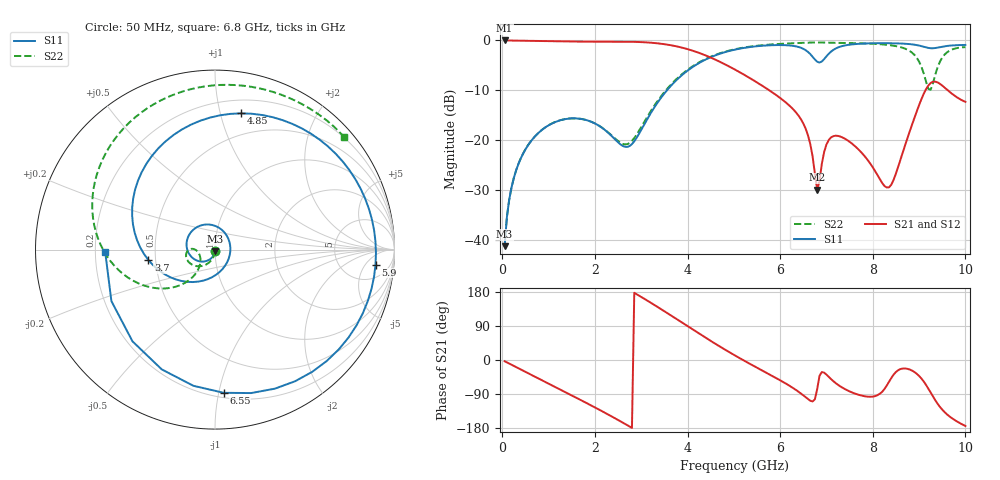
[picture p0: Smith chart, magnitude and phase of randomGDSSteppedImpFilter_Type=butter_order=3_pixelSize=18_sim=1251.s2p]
! freq	dB(S11)	phase(S11)	dB(S12)	phase(S12)
!  dB(S21)	phase(S21)	dB(S22)	phase(S22)
!S-par simulation data
#  GHz  S  DB  R 50
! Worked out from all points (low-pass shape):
!   200 points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, 50 MHz to 10 GHz, reference 50 ohm
!   highest |S21| = -0.01 dB at 50 MHz (marker M1); lowest = -29.9 dB at 6.8 GHz (marker M2)
!   |S21| within 3 dB of the highest: start of sweep to 4.392 GHz
!   lowest |S11| = -41.2 dB at 50 MHz (marker M3), VSWR 1.02, Z = 50 - j0.869 ohm
!   |S11| at or under -10 dB: start of sweep to 3.554 GHz
!   |S22| runs from -41.2 to -0.4 dB; largest |S21 - S12| = 0
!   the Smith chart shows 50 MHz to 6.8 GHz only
!   S11 on the Smith chart (normalised r, x): 50 MHz: 1.00, -0.02; 3.7 GHz: 0.46, -0.06; 4.85 GHz: 0.31, +1.16; 5.9 GHz: 11, -9; 6.55 GHz: 0.23, -1.03; 6.8 GHz: 0.24, -0.01
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0.05  -41.21 -91.8  -0.01 -3.2  -0.01 -3.2  -41.19 -90.6
0.2  -29.41 -104.7  -0.03 -12.6  -0.03 -12.6  -29.39 -99.7
0.5  -21.83 -127.9  -0.07 -31.3  -0.07 -31.3  -21.80 -115.5
1.75  -15.81 132.2  -0.25 -109.1  -0.25 -109.1  -15.80 -171.6
2.65  -21.32 4.7  -0.25 -168.6  -0.25 -168.6  -20.83 -161.3
3.4  -11.83 -137.0  -0.63 136.4  -0.63 136.4  -11.53 -133.4
3.7  -8.51 -171.0  -1.07 113.0  -1.07 113.0  -8.29 -145.9
4.25  -4.52 133.4  -2.50 69.7  -2.50 69.7  -4.39 -176.6
4.85  -2.24 79.1  -4.98 24.4  -4.98 24.4  -2.15 147.4
5.05  -1.79 62.4  -5.97 10.2  -5.97 10.2  -1.71 135.6
5.9  -0.93 -5.4  -10.85 -46.8  -10.85 -46.8  -0.74 88.1
6.55  -1.94 -86.5  -17.66 -98.3  -17.66 -98.3  -0.46 54.1
6.7  -3.25 -132.0  -23.21 -109.5  -23.21 -109.5  -0.42 46.2
6.8  -4.27 -178.7  -29.92 -76.5  -29.92 -76.5  -0.41 40.9
7  -3.18 81.6  -20.84 -38.6  -20.84 -38.6  -0.45 30.5
7.3  -1.24 12.7  -19.25 -69.7  -19.25 -69.7  -0.50 15.5
8.35  -0.56 -59.8  -29.44 -57.8  -29.44 -57.8  -0.93 -42.6
8.85  -0.79 -80.3  -16.82 -28.1  -16.82 -28.1  -2.47 -90.1
9.1  -1.27 -88.8  -10.69 -56.7  -10.69 -56.7  -6.62 -149.9
9.35  -1.52 -92.2  -8.25 -106.3  -8.25 -106.3  -6.84 53.7
9.6  -1.11 -98.2  -9.84 -143.1  -9.84 -143.1  -2.41 -12.8
10  -0.90 -110.8  -12.30 -174.2  -12.30 -174.2  -1.34 -58.2
